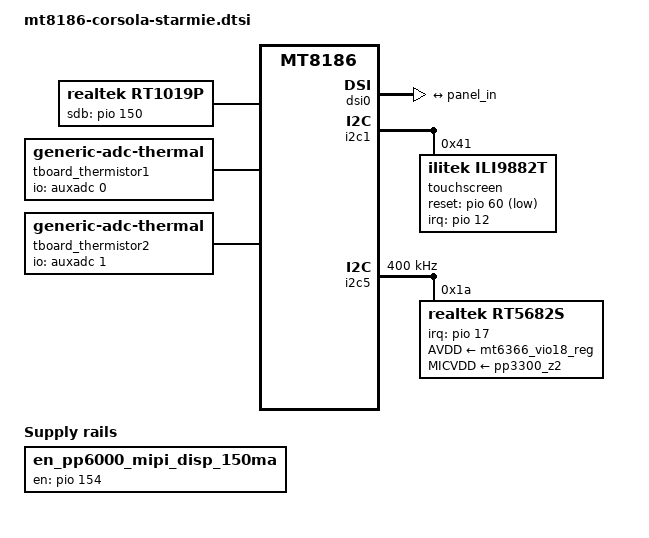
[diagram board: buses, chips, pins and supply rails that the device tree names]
// SPDX-License-Identifier: (GPL-2.0 OR MIT)
/*
 * Copyright 2023 Google LLC
 */

/dts-v1/;
#include "mt8186-corsola.dtsi"
#include "mt8186-corsola-it6505.dtsi"

/delete-node/ &dsi_out;
/delete-node/ &keyboard_controller;

/ {
	en_pp6000_mipi_disp_150ma: en-pp6000-mipi-disp-150ma {
		compatible = "regulator-fixed";
		regulator-name = "en_pp6000_mipi_disp_150ma";
		gpio = <&pio 154 GPIO_ACTIVE_HIGH>;
		enable-active-high;
		pinctrl-names = "default";
		pinctrl-0 = <&pp6000_mipi_disp_150ma_fixed_pins>;
	};

	rt1019p: rt1019p {
		status = "okay";

		compatible = "realtek,rt1019p";
		pinctrl-names = "default";
		pinctrl-0 = <&rt1019p_pins_default>;
		sdb-gpios = <&pio 150 GPIO_ACTIVE_HIGH>;
		#sound-dai-cells = <0>;
	};

	tboard_thermistor1: thermal-sensor1 {
		compatible = "generic-adc-thermal";
		#thermal-sensor-cells = <0>;
		io-channels = <&auxadc 0>;
		io-channel-names = "sensor-channel";
		temperature-lookup-table = <    (-5000) 1492
						0 1413
						5000 1324
						10000 1227
						15000 1121
						20000 1017
						25000 900
						30000 797
						35000 698
						40000 606
						45000 522
						50000 449
						55000 383
						60000 327
						65000 278
						70000 236
						75000 201
						80000 171
						85000 145
						90000 163
						95000 124
						100000 91
						105000 78
						110000 67
						115000 58
						120000 50
						125000 44>;
	};

	tboard_thermistor2: thermal-sensor2 {
		compatible = "generic-adc-thermal";
		#thermal-sensor-cells = <0>;
		io-channels = <&auxadc 1>;
		io-channel-names = "sensor-channel";
		temperature-lookup-table = <    (-5000) 1492
						0 1413
						5000 1324
						10000 1227
						15000 1121
						20000 1017
						25000 900
						30000 797
						35000 698
						40000 606
						45000 522
						50000 449
						55000 383
						60000 327
						65000 278
						70000 236
						75000 201
						80000 171
						85000 145
						90000 163
						95000 124
						100000 91
						105000 78
						110000 67
						115000 58
						120000 50
						125000 44>;
	};
};

&cros_ec {
	cbas {
		compatible = "google,cros-cbas";
	};

	keyboard-controller {
		compatible = "google,cros-ec-keyb-switches";
	};
};

&dsi0 {
	status = "okay";
	#address-cells = <1>;
	#size-cells = <0>;
	panel: panel@0 {
		/* compatible will be set in board dts */
		reg = <0>;
		enable-gpios = <&pio 98 0>;
		pinctrl-names = "default";
		pinctrl-0 = <&panel_pins_default>;
		avdd-supply = <&en_pp6000_mipi_disp>;
		avee-supply = <&en_pp6000_mipi_disp_150ma>;
		pp1800-supply = <&mt6366_vio18_reg>;
		backlight = <&backlight_lcd0>;
		rotation = <270>;
		port {
			panel_in: endpoint {
				remote-endpoint = <&dsi_out>;
			};
		};
	};

	ports {
		port {
			dsi_out: endpoint {
				remote-endpoint = <&panel_in>;
			};
		};
	};
};

&i2c0 {
	status = "disabled";
};

&i2c1 {
	touchscreen: touchscreen@41 {
		status = "okay";

		compatible = "ilitek,ili9882t";
		reg = <0x41>;
		interrupt-parent = <&pio>;
		interrupts = <12 IRQ_TYPE_LEVEL_LOW>;
		pinctrl-names = "default";
		pinctrl-0 = <&touchscreen_pins>;
		panel = <&panel>;
		reset-gpios = <&pio 60 GPIO_ACTIVE_LOW>;
		vccio = <&mt6366_vio18_reg>;
	};
};

&i2c2 {
	status = "disabled";
};

&i2c4 {
	status = "disabled";
};

&i2c5 {
	clock-frequency = <400000>;

	rt5682s: rt5682s@1a {
		compatible = "realtek,rt5682s";
		reg = <0x1a>;
		interrupt-parent = <&pio>;
		interrupts = <17 IRQ_TYPE_EDGE_BOTH>;
		realtek,jd-src = <1>;
		AVDD-supply = <&mt6366_vio18_reg>;
		MICVDD-supply = <&pp3300_z2>;
		#sound-dai-cells = <0>;
	};
};

&mmc1_pins_default {
	pins-clk {
		drive-strength = <MTK_DRIVE_8mA>;
	};

	pins-cmd-dat {
		drive-strength = <MTK_DRIVE_8mA>;
	};
};

&mmc1_pins_uhs {
	pins-clk {
		drive-strength = <MTK_DRIVE_8mA>;
	};

	pins-cmd-dat {
		drive-strength = <MTK_DRIVE_8mA>;
	};
};

&pen_insert {
	wakeup-event-action = <EV_ACT_ANY>;
};

&pio {
	/* 185 lines */
	gpio-line-names = "TP",
			  "TP",
			  "TP",
			  "I2S0_HP_DI",
			  "I2S3_DP_SPKR_DO",
			  "SAR_INT_ODL",
			  "BT_WAKE_AP_ODL",
			  "WIFI_INT_ODL",
			  "DPBRDG_INT_ODL",
			  "NC",
			  "EC_AP_HPD_OD",
			  "NC",
			  "TCHSCR_INT_1V8_ODL",
			  "EC_AP_INT_ODL",
			  "EC_IN_RW_ODL",
			  "GSC_AP_INT_ODL",
			  /*
			  * AP_FLASH_WP_L is crossystem ABI. Rev1 schematics
			  * call it AP_WP_ODL.
			  */
			  "AP_FLASH_WP_L",
			  "HP_INT_ODL",
			  "PEN_EJECT_OD",
			  "NC",
			  "NC",
			  "UCAM_SEN_EN",
			  "NC",
			  "NC",
			  "NC",
			  "I2S2_DP_SPK_MCK",
			  "I2S2_DP_SPKR_BCK",
			  "I2S2_DP_SPKR_LRCK",
			  "NC",
			  "NC",
			  "NC",
			  "NC",
			  "UART_GSC_TX_AP_RX",
			  "UART_AP_TX_GSC_RX",
			  "UART_DBGCON_TX_ADSP_RX",
			  "UART_ADSP_TX_DBGCON_RX",
			  "NC",
			  "TCHSCR_REPORT_DISABLE",
			  "NC",
			  "EN_PP1800_DPBRDG",
			  "SPI_AP_CLK_EC",
			  "SPI_AP_CS_EC_L",
			  "SPI_AP_DO_EC_DI",
			  "SPI_AP_DI_EC_DO",
			  "SPI_AP_CLK_GSC",
			  "SPI_AP_CS_GSC_L",
			  "SPI_AP_DO_GSC_DI",
			  "SPI_AP_DI_GSC_DO",
			  "UART_DBGCON_TX_SCP_RX",
			  "UART_SCP_TX_DBGCON_RX",
			  "EN_PP1200_CAM_X",
			  "WLAN_MODULE_RST_L",
			  "NC",
			  "NC",
			  "NC",
			  "NC",
			  "I2S1_HP_DO",
			  "I2S1_HP_BCK",
			  "I2S1_HP_LRCK",
			  "I2S1_HP_MCK",
			  "TCHSCR_RST_1V8_L",
			  "SPI_AP_CLK_ROM",
			  "SPI_AP_CS_ROM_L",
			  "SPI_AP_DO_ROM_DI",
			  "SPI_AP_DI_ROM_DO",
			  "NC",
			  "NC",
			  "EMMC_STRB",
			  "EMMC_CLK",
			  "EMMC_CMD",
			  "EMMC_RST_L",
			  "EMMC_DATA0",
			  "EMMC_DATA1",
			  "EMMC_DATA2",
			  "EMMC_DATA3",
			  "EMMC_DATA4",
			  "EMMC_DATA5",
			  "EMMC_DATA6",
			  "EMMC_DATA7",
			  "AP_KPCOL0",
			  "NC",
			  "NC",
			  "NC",
			  "TP",
			  "SDIO_CLK",
			  "SDIO_CMD",
			  "SDIO_DATA0",
			  "SDIO_DATA1",
			  "SDIO_DATA2",
			  "SDIO_DATA3",
			  "NC",
			  "NC",
			  "NC",
			  "NC",
			  "NC",
			  "NC",
			  "NC",
			  "MIPI_BL_PWM_1V8",
			  "DISP_RST_1V8_L",
			  "MIPI_DPI_CLK",
			  "MIPI_DPI_VSYNC",
			  "MIPI_DPI_HSYNC",
			  "MIPI_DPI_DE",
			  "MIPI_DPI_D0",
			  "MIPI_DPI_D1",
			  "MIPI_DPI_D2",
			  "MIPI_DPI_D3",
			  "MIPI_DPI_D4",
			  "MIPI_DPI_D5",
			  "MIPI_DPI_D6",
			  "MIPI_DPI_DA7",
			  "MIPI_DPI_D8",
			  "MIPI_DPI_D9",
			  "MIPI_DPI_D10",
			  "MIPI_DPI_D11",
			  "PCM_BT_CLK",
			  "PCM_BT_SYNC",
			  "PCM_BT_DI",
			  "PCM_BT_DO",
			  "JTAG_TMS_TP",
			  "JTAG_TCK_TP",
			  "JTAG_TDI_TP",
			  "JTAG_TDO_TP",
			  "JTAG_TRSTN_TP",
			  "NC",
			  "NC",
			  "UCAM_DET_ODL",
			  "NC",
			  "NC",
			  "AP_I2C_TCHSCR_SCL_1V8",
			  "AP_I2C_TCHSCR_SDA_1V8",
			  "NC",
			  "NC",
			  "AP_I2C_DPBRDG_SCL_1V8",
			  "AP_I2C_DPBRDG_SDA_1V8",
			  "NC",
			  "NC",
			  "AP_I2C_AUD_SCL_1V8",
			  "AP_I2C_AUD_SDA_1V8",
			  "AP_I2C_DISP_SCL_1V8",
			  "AP_I2C_DISP_SDA_1V8",
			  "NC",
			  "NC",
			  "NC",
			  "NC",
			  "SCP_I2C_SENSOR_SCL_1V8",
			  "SCP_I2C_SENSOR_SDA_1V8",
			  "AP_EC_WARM_RST_REQ",
			  "AP_XHCI_INIT_DONE",
			  "USB3_HUB_RST_L",
			  "EN_SPKR",
			  "BEEP_ON",
			  "AP_DISP_BKLTEN",
			  "EN_PP6000_MIPI_DISP",
			  "EN_PP6000_MIPI_DISP_150MA",
			  "BT_KILL_1V8_L",
			  "WIFI_KILL_1V8_L",
			  "PWRAP_SPI0_CSN",
			  "PWRAP_SPI0_CK",
			  "PWRAP_SPI0_MO",
			  "PWRAP_SPI0_MI",
			  "SRCLKENA0",
			  "SRCLKENA1",
			  "SCP_VREQ_VAO",
			  "AP_RTC_CLK32K",
			  "AP_PMIC_WDTRST_L",
			  "AUD_CLK_MOSI",
			  "AUD_SYNC_MOSI",
			  "AUD_DAT_MOSI0",
			  "AUD_DAT_MOSI1",
			  "AUD_CLK_MISO",
			  "AUD_SYNC_MISO",
			  "AUD_DAT_MISO0",
			  "AUD_DAT_MISO1",
			  "NC",
			  "NC",
			  "NC",
			  "DPBRDG_RST_L",
			  "LTE_W_DISABLE_L",
			  "LTE_SAR_DETECT_L",
			  "EN_PP3300_LTE_X",
			  "LTE_PWR_OFF_L",
			  "LTE_RESET_L",
			  "TP",
			  "TP";

	dpi_pin_default: dpi-pin-default {
		pins-cmd-dat {
			pinmux = <PINMUX_GPIO103__FUNC_GPIO103>,
				 <PINMUX_GPIO104__FUNC_GPIO104>,
				 <PINMUX_GPIO105__FUNC_GPIO105>,
				 <PINMUX_GPIO106__FUNC_GPIO106>,
				 <PINMUX_GPIO107__FUNC_GPIO107>,
				 <PINMUX_GPIO108__FUNC_GPIO108>,
				 <PINMUX_GPIO109__FUNC_GPIO109>,
				 <PINMUX_GPIO110__FUNC_GPIO110>,
				 <PINMUX_GPIO111__FUNC_GPIO111>,
				 <PINMUX_GPIO112__FUNC_GPIO112>,
				 <PINMUX_GPIO113__FUNC_GPIO113>,
				 <PINMUX_GPIO114__FUNC_GPIO114>,
				 <PINMUX_GPIO101__FUNC_GPIO101>,
				 <PINMUX_GPIO100__FUNC_GPIO100>,
				 <PINMUX_GPIO102__FUNC_GPIO102>,
				 <PINMUX_GPIO99__FUNC_GPIO99>;
			drive-strength = <MTK_DRIVE_10mA>;
			output-low;
		};
	};

	dpi_pin_func: dpi-pin-func {
		pins-cmd-dat {
			pinmux = <PINMUX_GPIO103__FUNC_DPI_DATA0>,
				 <PINMUX_GPIO104__FUNC_DPI_DATA1>,
				 <PINMUX_GPIO105__FUNC_DPI_DATA2>,
				 <PINMUX_GPIO106__FUNC_DPI_DATA3>,
				 <PINMUX_GPIO107__FUNC_DPI_DATA4>,
				 <PINMUX_GPIO108__FUNC_DPI_DATA5>,
				 <PINMUX_GPIO109__FUNC_DPI_DATA6>,
				 <PINMUX_GPIO110__FUNC_DPI_DATA7>,
				 <PINMUX_GPIO111__FUNC_DPI_DATA8>,
				 <PINMUX_GPIO112__FUNC_DPI_DATA9>,
				 <PINMUX_GPIO113__FUNC_DPI_DATA10>,
				 <PINMUX_GPIO114__FUNC_DPI_DATA11>,
				 <PINMUX_GPIO101__FUNC_DPI_HSYNC>,
				 <PINMUX_GPIO100__FUNC_DPI_VSYNC>,
				 <PINMUX_GPIO102__FUNC_DPI_DE>,
				 <PINMUX_GPIO99__FUNC_DPI_PCLK>;
			drive-strength = <MTK_DRIVE_10mA>;
		};
	};

	edp_panel_fixed_pins: edp-panel-fixed-pins {
		pins1 {
			pinmux = <PINMUX_GPIO153__FUNC_GPIO153>;
			output-low;
		};
	};

	pp6000_mipi_disp_150ma_fixed_pins: pp6000-mipi-disp-150ma-fixed-pins {
		pins1 {
			pinmux = <PINMUX_GPIO154__FUNC_GPIO154>;
			output-low;
		};
	};

	panel_pins_default: panel-pins-default {
		pins1 {
			pinmux = <PINMUX_GPIO98__FUNC_GPIO98>;
			output-low;
		};
	};
	wifi_pins_pwrseq: wifipwrseq {
		pins-wifi-enable {
			pinmux = <PINMUX_GPIO51__FUNC_GPIO51>;
		};
	};
};

&sound {
	status = "okay";

	compatible = "mediatek,mt8186-mt6366-rt1019-rt5682s-sound";
	mediatek,adsp = <&adsp>;

	playback-codecs {
		sound-dai = <&it6505dptx>,<&rt1019p>;
	};

	headset-codec {
		sound-dai = <&rt5682s>;
	};
};

&usb_c1 {
	status = "disabled";
};

&thermal_zones {
	tboard1 {
		polling-delay = <1000>; /* milliseconds */
		polling-delay-passive = <0>; /* milliseconds */
		thermal-sensors = <&tboard_thermistor1>;
	};

	tboard2 {
		polling-delay = <1000>; /* milliseconds */
		polling-delay-passive = <0>; /* milliseconds */
		thermal-sensors = <&tboard_thermistor2>;
	};
};

&wifi_pwrseq {
	reset-gpios = <&pio 51 1>;
};

en_pp6000_mipi_disp: &pp3300_disp_x {
	regulator-name = "en_pp6000_mipi_disp";
	gpio = <&pio 153 GPIO_ACTIVE_HIGH>;
	regulator-enable-ramp-delay = <3000>;
	/delete-property/ regulator-boot-on;
};
